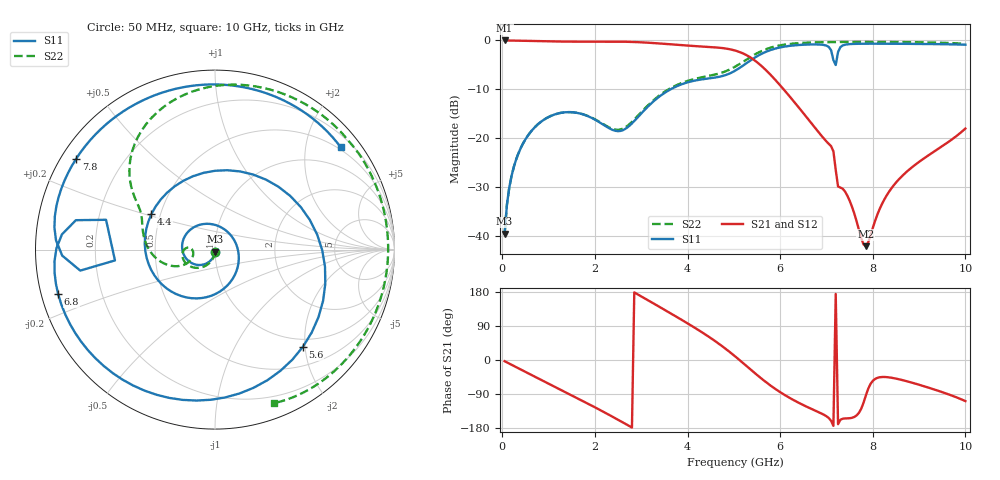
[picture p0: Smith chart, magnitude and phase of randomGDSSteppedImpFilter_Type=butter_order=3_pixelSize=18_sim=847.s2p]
! freq	dB(S11)	phase(S11)	dB(S12)	phase(S12)
!  dB(S21)	phase(S21)	dB(S22)	phase(S22)
!S-par simulation data
#  GHz  S  DB  R 50
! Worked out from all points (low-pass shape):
!   200 points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, 50 MHz to 10 GHz, reference 50 ohm
!   highest |S21| = -0.02 dB at 50 MHz (marker M1); lowest = -42.0 dB at 7.85 GHz (marker M2)
!   |S21| within 3 dB of the highest: start of sweep to 5.273 GHz
!   lowest |S11| = -39.5 dB at 50 MHz (marker M3), VSWR 1.02, Z = 50.1 - j1.06 ohm
!   |S11| at or under -10 dB: start of sweep to 3.631 GHz
!   |S22| runs from -39.4 to -0.3 dB; largest |S21 - S12| = 0
!   S11 on the Smith chart (normalised r, x): 50 MHz: 1.00, -0.02; 4.4 GHz: 0.45, +0.21; 5.6 GHz: 0.84, -1.96; 6.8 GHz: 0.05, -0.14; 7.8 GHz: 0.04, +0.30; 10 GHz: 0.44, +2.75
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0.05  -39.45 -86.2  -0.02 -3.2  -0.02 -3.2  -39.44 -85.6
0.2  -27.65 -102.4  -0.04 -12.6  -0.04 -12.6  -27.63 -99.9
0.55  -19.47 -128.3  -0.10 -34.5  -0.10 -34.5  -19.45 -121.0
1.15  -15.06 -171.5  -0.23 -71.6  -0.23 -71.6  -15.05 -152.8
1.75  -15.11 139.4  -0.26 -108.9  -0.26 -108.9  -15.09 -178.0
2.65  -18.10 6.4  -0.28 -167.9  -0.28 -167.9  -17.77 -163.2
3.4  -11.41 -100.0  -0.64 139.8  -0.64 139.8  -11.18 -161.9
4.4  -7.83 150.7  -1.30 66.2  -1.30 66.2  -7.36 160.9
5.05  -6.06 44.7  -2.14 7.3  -2.14 7.3  -5.24 146.0
5.35  -4.15 -8.9  -3.44 -23.9  -3.44 -23.9  -3.45 135.0
5.6  -2.73 -47.9  -5.25 -49.4  -5.25 -49.4  -2.17 121.6
6.05  -1.35 -102.2  -9.71 -88.7  -9.71 -88.7  -0.93 95.1
6.7  -0.83 -156.7  -17.20 -130.4  -17.20 -130.4  -0.43 60.8
6.8  -0.83 -164.1  -18.38 -136.0  -18.38 -136.0  -0.40 56.0
7.1  -2.02 168.1  -21.58 -160.4  -21.58 -160.4  -0.36 42.2
7.2  -5.03 -173.8  -26.42 174.2  -26.42 174.2  -0.35 38.0
7.35  -1.04 176.7  -30.25 -154.9  -30.25 -154.9  -0.32 31.5
7.8  -0.68 146.8  -41.63 -112.9  -41.63 -112.9  -0.31 13.0
7.85  -0.68 144.1  -41.98 -93.9  -41.98 -93.9  -0.31 11.0
8.35  -0.69 118.4  -30.89 -45.9  -30.89 -45.9  -0.32 -8.0
9.15  -0.74 79.6  -23.79 -70.9  -23.79 -70.9  -0.40 -36.4
10  -0.88 39.1  -17.99 -108.5  -17.99 -108.5  -0.75 -68.9
